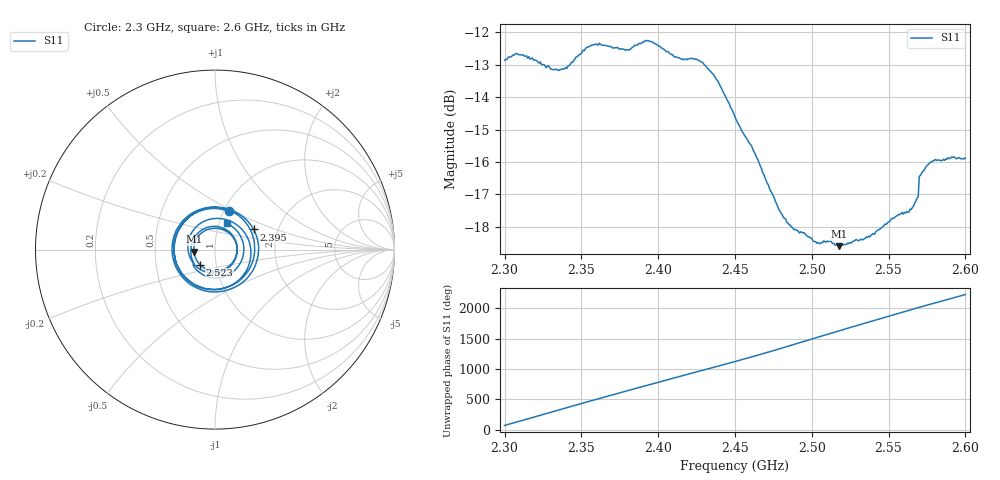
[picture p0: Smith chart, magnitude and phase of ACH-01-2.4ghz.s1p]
! NanoVNA-App
! Date: 2026-05-22 19:47:03
! Start: 2.3GHz Stop: 2.6GHz Points: 401
! S-Parameter data: F S11
# Hz S RI R 50
!  Frequency  S11_Real  S11_Imag
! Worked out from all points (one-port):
!   401 points, 2.3 GHz to 2.6 GHz, reference 50 ohm
!   lowest |S11| = -18.6 dB at 2.518 GHz (marker M1), VSWR 1.27, Z = 39.5 - j0.968 ohm
!   |S11| at or under -10 dB: start of sweep to end of sweep
!   S11 on the Smith chart (normalised r, x): 2.3 GHz: 1.06, +0.48; 2.395 GHz: 1.50, +0.36; 2.523 GHz: 0.84, -0.14; 2.6 GHz: 1.09, +0.33
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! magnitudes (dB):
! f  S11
! 2.3 GHz  -12.9
! 2.309 GHz  -12.7
! 2.332 GHz  -13.2
! 2.337 GHz  -13.1
! 2.358 GHz  -12.4
! 2.375 GHz  -12.5
! 2.38 GHz  -12.6
! 2.395 GHz  -12.3
! 2.413 GHz  -12.8
! 2.424 GHz  -12.8
! 2.43 GHz  -13.0
! 2.439 GHz  -13.5
! 2.45 GHz  -14.6
! 2.462 GHz  -15.7
! 2.479 GHz  -17.5
! 2.487 GHz  -18.0
! 2.503 GHz  -18.5
! 2.518 GHz  -18.6
! 2.523 GHz  -18.5
! 2.525 GHz  -18.5
! 2.539 GHz  -18.2
! 2.554 GHz  -17.7
! 2.562 GHz  -17.5
! 2.568 GHz  -17.2
! 2.571 GHz  -16.3
! 2.576 GHz  -16.1
! 2.592 GHz  -15.9
! 2.6 GHz  -15.9
